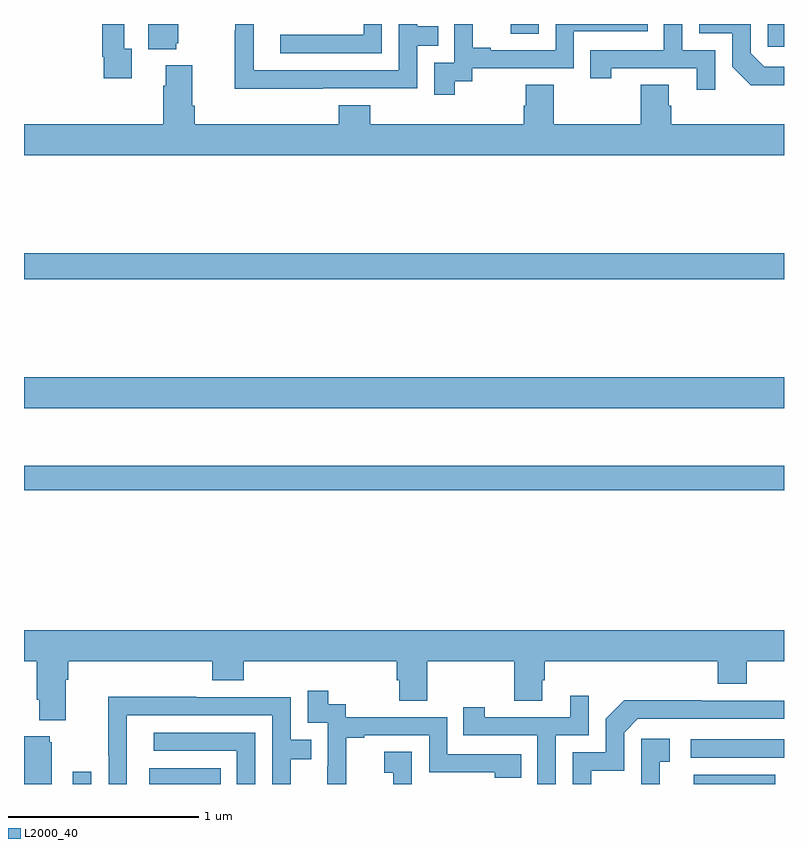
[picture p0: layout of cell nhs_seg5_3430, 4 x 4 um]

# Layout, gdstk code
import gdstk
lib = gdstk.Library(unit=1e-6, precision=1e-09)
def R(c, l, rs):  # rectangles x0, y0, x1, y1
    for r in rs: c.add(gdstk.rectangle(r[:2], r[2:], *l))
def P(c, l, *ps):  # polygons
    for p in ps: c.add(gdstk.Polygon(p, *l))
L2000_40 = (2000, 40)

nhs_seg5_3430 = lib.new_cell('nhs_seg5_3430')
R(nhs_seg5_3430, L2000_40, [(313.257,838.799,313.353,838.864), (313.658,838.799,314.036,838.882), (316.526,838.799,316.954,838.849), (316.509,838.938,317,839.034), (313,840.346,317,840.475), (313,840.776,317,840.94), (313,841.456,317,841.592), (316.914,842.679,317,842.799), (315.561,842.748,315.708,842.799)])
P(nhs_seg5_3430, L2000_40, [(313.802,842.697),(313.813,842.697),(313.813,842.799),(313.655,842.799),(313.655,842.666),(313.802,842.666)],
  [(316.638,842.661),(316.464,842.661),(316.464,842.799),(316.368,842.799),(316.368,842.661),(315.979,842.661),(315.979,842.514),(316.09,842.514),(316.09,842.565),(316.541,842.565),(316.541,842.454),(316.638,842.454)],
  [(313.567,842.67),(313.527,842.67),(313.527,842.799),(313.411,842.799),(313.411,842.626),(313.419,842.626),(313.419,842.514),(313.567,842.514)],
  [(317,842.574),(316.896,842.574),(316.824,842.646),(316.824,842.799),(316.554,842.799),(316.554,842.751),(316.728,842.751),(316.728,842.574),(316.826,842.477),(317,842.477)],
  [(314.573,842.46),(315.069,842.46),(315.069,842.685),(315.179,842.685),(315.179,842.786),(315.069,842.786),(315.069,842.799),(314.973,842.799),(314.973,842.556),(314.208,842.556),(314.208,842.799),(314.112,842.799),(314.112,842.765),(314.11,842.765),(314.11,842.459),(314.573,842.459)],
  [(314.883,842.799),(314.787,842.799),(314.787,842.742),(314.349,842.742),(314.349,842.646),(314.883,842.646)],
  [(315.268,842.497),(315.36,842.497),(315.36,842.565),(315.894,842.565),(315.894,842.76),(316.283,842.76),(316.283,842.799),(315.798,842.799),(315.798,842.661),(315.457,842.661),(315.457,842.674),(315.362,842.674),(315.362,842.799),(315.264,842.799),(315.264,842.595),(315.159,842.595),(315.159,842.427),(315.268,842.427)],
  [(317,842.272),(316.406,842.272),(316.406,842.37),(316.393,842.37),(316.393,842.48),(316.246,842.48),(316.246,842.272),(315.789,842.272),(315.789,842.48),(315.641,842.48),(315.641,842.37),(315.629,842.37),(315.629,842.272),(314.822,842.272),(314.822,842.371),(314.657,842.371),(314.657,842.272),(313.898,842.272),(313.898,842.368),(313.885,842.368),(313.885,842.581),(313.745,842.581),(313.745,842.474),(313.733,842.474),(313.733,842.272),(313,842.272),(313,842.108),(317,842.108)],
  [(313.219,839.348),(313.232,839.348),(313.232,839.444),(313.991,839.444),(313.991,839.345),(314.156,839.345),(314.156,839.444),(314.963,839.444),(314.963,839.346),(314.975,839.346),(314.975,839.236),(315.123,839.236),(315.123,839.444),(315.58,839.444),(315.58,839.236),(315.727,839.236),(315.727,839.346),(315.74,839.346),(315.74,839.444),(316.652,839.444),(316.652,839.327),(316.804,839.327),(316.804,839.444),(317,839.444),(317,839.608),(313,839.608),(313,839.444),(313.067,839.444),(313.067,839.242),(313.079,839.242),(313.079,839.135),(313.219,839.135)],
  [(314.696,839.043),(314.791,839.043),(314.791,839.055),(315.132,839.055),(315.132,838.86),(315.477,838.86),(315.477,838.833),(315.617,838.833),(315.617,838.956),(315.228,838.956),(315.228,839.151),(314.694,839.151),(314.694,839.22),(314.602,839.22),(314.602,839.29),(314.493,839.29),(314.493,839.121),(314.598,839.121),(314.598,838.892),(314.597,838.892),(314.597,838.799),(314.696,838.799)],
  [(315.798,839.055),(315.972,839.055),(315.972,839.263),(315.875,839.263),(315.875,839.151),(315.424,839.151),(315.424,839.203),(315.313,839.203),(315.313,839.055),(315.702,839.055),(315.702,838.799),(315.798,838.799)],
  [(313.542,839.16),(314.307,839.16),(314.307,838.799),(314.403,838.799),(314.403,838.93),(314.513,838.93),(314.513,839.031),(314.403,839.031),(314.403,839.256),(313.907,839.256),(313.907,839.258),(313.444,839.258),(313.444,838.951),(313.446,838.951),(313.446,838.799),(313.542,838.799)],
  [(315.985,838.869),(316.158,838.869),(316.158,839.07),(316.23,839.142),(317,839.142),(317,839.238),(316.568,839.238),(316.568,839.24),(316.16,839.24),(316.062,839.142),(316.062,838.965),(315.888,838.965),(315.888,838.799),(315.985,838.799)],
  [(314.217,839.07),(313.683,839.07),(313.683,838.974),(314.121,838.974),(314.121,838.799),(314.217,838.799)],
  [(313.147,839.019),(313.136,839.019),(313.136,839.05),(313,839.05),(313,838.799),(313.147,838.799)],
  [(316.346,838.917),(316.399,838.917),(316.399,839.038),(316.248,839.038),(316.248,838.799),(316.346,838.799)],
  [(315.042,838.969),(314.895,838.969),(314.895,838.859),(314.944,838.859),(314.944,838.799),(315.042,838.799)])

lib.write_gds('nhs_seg5_3430.gds')
